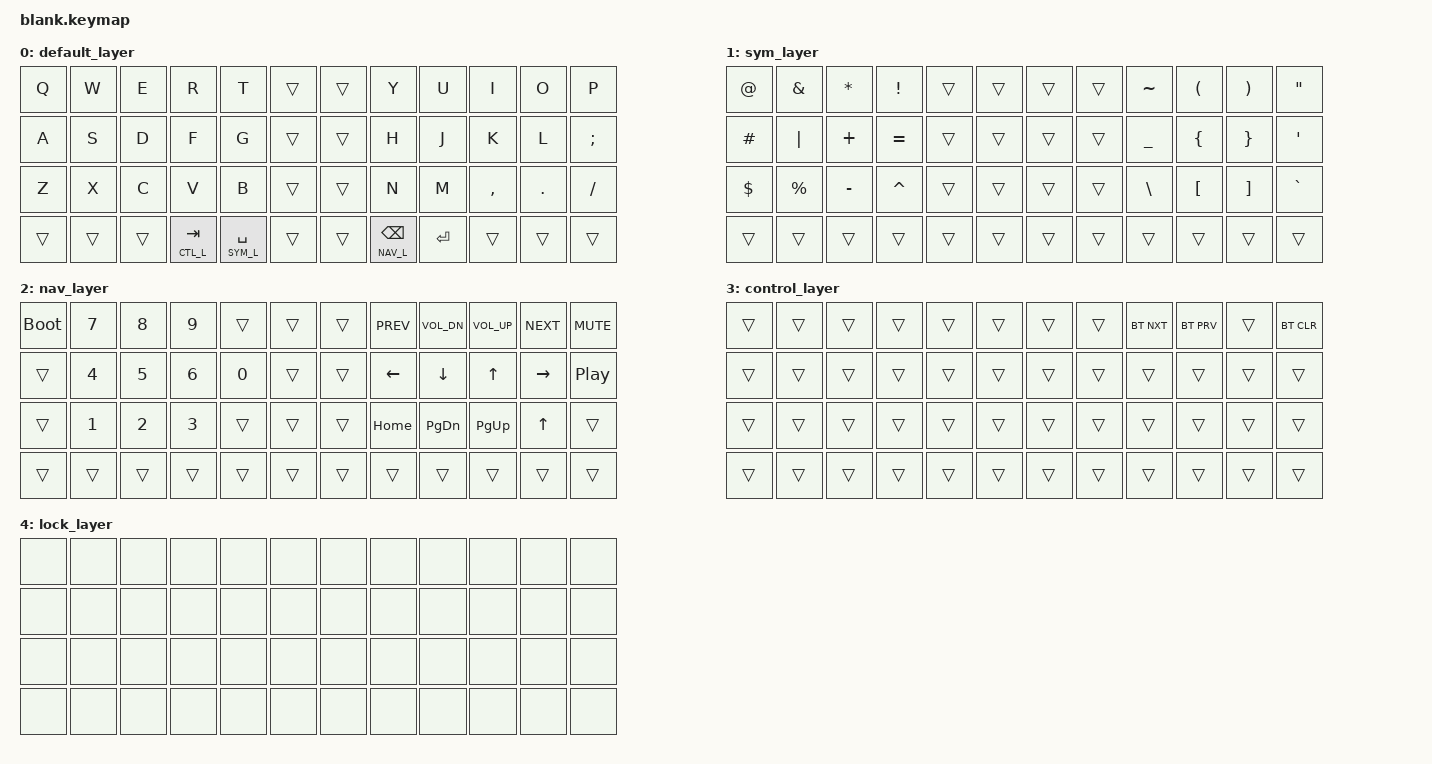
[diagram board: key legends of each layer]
#include <behaviors.dtsi>
#include <dt-bindings/zmk/keys.h>
#include <dt-bindings/zmk/bt.h>

#define SYM_L 1
#define NAV_L 2
#define CTL_L 3
#define LCK_L 4

&lt { quick_tap_ms = <200>; };

/ {
	combos {
		compatible = "zmk,combos";

		lock {
			timeout-ms = <50>;
			key-positions = <0 4 7 11>;
			bindings = <&tog LCK_L>;
		};

		esc_mo {
			timeout-ms = <50>;
			key-positions = <39 40>;
			bindings = <&kp ESC>;
		};

		del_mo {
			timeout-ms = <50>;
			key-positions = <43 44>;
			bindings = <&kp DEL>;
		};

		// home row one shot mods
		left_shift {
			timeout-ms = <50>;
			key-positions = <39 15>;
			bindings = <&sk LSHFT>;
		};

		left_ctrl {
			timeout-ms = <50>;
			key-positions = <39 14>;
			bindings = <&sk LCTRL>;
		};

		left_alt {
			timeout-ms = <50>;
			key-positions = <39 13>;
			bindings = <&sk LALT>;
		};

		left_gui {
			timeout-ms = <50>;
			key-positions = <39 12>;
			bindings = <&sk LGUI>;
		};

		right_shift {
			timeout-ms = <50>;
			key-positions = <44 20>;
			bindings = <&sk RSHFT>;
		};

		right_ctrl {
			timeout-ms = <50>;
			key-positions = <44 21>;
			bindings = <&sk RCTRL>;
		};

		right_alt {
			timeout-ms = <50>;
			key-positions = <44 22>;
			bindings = <&sk RALT>;
		};

		right_gui {
			timeout-ms = <50>;
			key-positions = <44 23>;
			bindings = <&sk RGUI>;
		};

	};

	keymap {
		compatible = "zmk,keymap";

		default_layer {
// --------------------------------------------------------------------------
// |  Q  |  W  |  E  |  R  |  T  |     |     |  Y   |  U  |  I  |  O  |  P  |
// |  A  |  S  |  D  |  F  |  G  |     |     |  H   |  J  |  K  |  L  |  ;  |
// |  Z  |  X  |  C  |  V  |  B  |     |     |  N   |  M  |  ,  |  .  |  /  |
// |     |     |     | TAB | SPC |     |     | BSPC | RET |     |     |     |
			bindings = <
	&kp Q   &kp W   &kp E   &kp R          &kp T            &trans  &trans  &kp Y           &kp U    &kp I      &kp O    &kp P
	&kp A   &kp S   &kp D   &kp F          &kp G            &trans  &trans  &kp H           &kp J    &kp K      &kp L    &kp SEMI
	&kp Z   &kp X   &kp C   &kp V          &kp B            &trans  &trans  &kp N           &kp M    &kp COMMA  &kp DOT  &kp SLASH
	&trans  &trans  &trans  &lt CTL_L TAB  &lt SYM_L SPACE  &trans  &trans  &lt NAV_L BSPC  &kp RET  &trans     &trans   &trans
			>;
		};

		sym_layer {
// --------------------------------------------------------------------------
// |  @  |  &  |  *  |  !  |     |     |     |     |  ~  |  (  |  )  |  "  |
// |  #  |  |  |  +  |  =  |     |     |     |     |  _  |  {  |  }  |  '  |
// |  $  |  %  |  -  |  ^  |     |     |     |     |  \  |  [  |  ]  |  `  |
// |     |     |     |     |     |     |     |     |     |     |     |     |
			bindings = <
	&kp AT    &kp AMPS   &kp STAR   &kp EXCL   &trans  &trans  &trans  &trans  &kp TILDE  &kp LPAR  &kp RPAR  &kp DQT
	&kp HASH  &kp PIPE   &kp PLUS   &kp EQUAL  &trans  &trans  &trans  &trans  &kp UNDER  &kp LBRC  &kp RBRC  &kp SQT
	&kp DLLR  &kp PRCNT  &kp MINUS  &kp CARET  &trans  &trans  &trans  &trans  &kp BSLH   &kp LBKT  &kp RBKT  &kp GRAVE
	&trans    &trans     &trans     &trans     &trans  &trans  &trans  &trans  &trans     &trans    &trans    &trans
			>;
		};

		nav_layer {
// --------------------------------------------------------------------------
// | RST |  7  |  8  |  9  |     |     |     | PREV | VDN  | VUP  | NEXT | MUTE |
// |     |  4  |  5  |  6  |  0  |     |     |  <   |  v   |  ^   |  >   | PLAY |
// |     |  1  |  2  |  3  |     |     |     | HOME | PGDN | PGUP | END  |      |
// |     |     |     |     |     |     |     |      |      |      |      |      |
			bindings = <
	&bootloader  &kp N7  &kp N8  &kp N9  &trans  &trans  &trans  &kp C_PREV  &kp C_VOL_DN  &kp C_VOL_UP  &kp C_NEXT  &kp C_MUTE
	&trans       &kp N4  &kp N5  &kp N6  &kp N0  &trans  &trans  &kp LEFT    &kp DOWN      &kp UP        &kp RIGHT   &kp C_PP
	&trans       &kp N1  &kp N2  &kp N3  &trans  &trans  &trans  &kp HOME    &kp PG_DN     &kp PG_UP     &kp UP      &trans
	&trans       &trans  &trans  &trans  &trans  &trans  &trans  &trans      &trans        &trans        &trans      &trans
			>;
		};

		control_layer {
// --------------------------------------------------------------------------
// |     |     |     |     |     |     |     |     |     |     |     |     |
// |     |     |     |     |     |     |     |     |     |     |     |     |
// |     |     |     |     |     |     |     |     |     |     |     |     |
// |     |     |     |     |     |     |     |     |     |     |     |     |
			bindings = <
	&trans  &trans  &trans  &trans  &trans  &trans  &trans  &trans  &bt BT_NXT  &bt	BT_PRV  &trans  &bt BT_CLR
	&trans  &trans  &trans  &trans  &trans  &trans  &trans  &trans  &trans      &trans      &trans  &trans
	&trans  &trans  &trans  &trans  &trans  &trans  &trans  &trans  &trans      &trans      &trans  &trans
	&trans  &trans  &trans  &trans  &trans  &trans  &trans  &trans  &trans      &trans      &trans  &trans
			>;
		};

		lock_layer {
			bindings = <
	&none  &none  &none  &none  &none  &none  &none  &none  &none  &none  &none  &none
	&none  &none  &none  &none  &none  &none  &none  &none  &none  &none  &none  &none
	&none  &none  &none  &none  &none  &none  &none  &none  &none  &none  &none  &none
	&none  &none  &none  &none  &none  &none  &none  &none  &none  &none  &none  &none
			>;
		};

// 		template_layer {
// // --------------------------------------------------------------------------
// // |     |     |     |     |     |     |     |     |     |     |     |     |
// // |     |     |     |     |     |     |     |     |     |     |     |     |
// // |     |     |     |     |     |     |     |     |     |     |     |     |
// // |     |     |     |     |     |     |     |     |     |     |     |     |
// 			bindings = <
// 	&trans  &trans  &trans  &trans  &trans  &trans  &trans  &trans  &trans  &trans  &trans  &trans
// 	&trans  &trans  &trans  &trans  &trans  &trans  &trans  &trans  &trans  &trans  &trans  &trans
// 	&trans  &trans  &trans  &trans  &trans  &trans  &trans  &trans  &trans  &trans  &trans  &trans
// 	&trans  &trans  &trans  &trans  &trans  &trans  &trans  &trans  &trans  &trans  &trans  &trans
// 			>;
// 		};
	};
};
